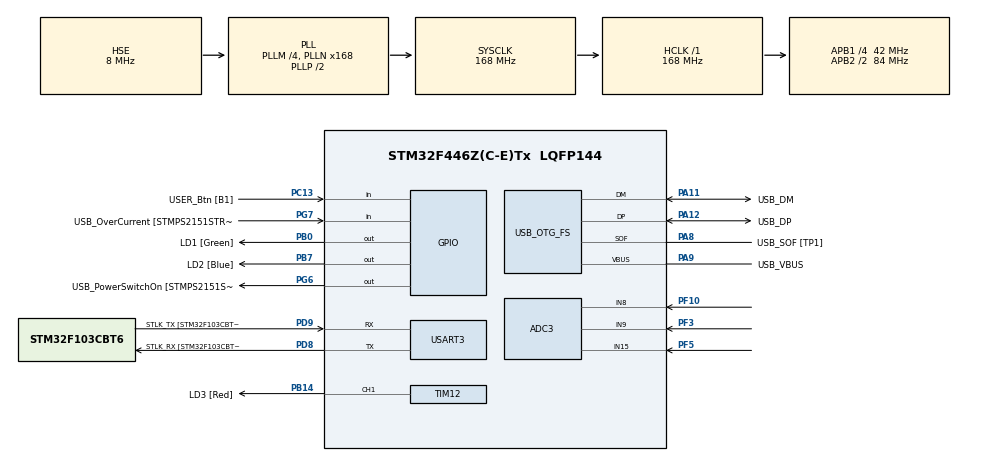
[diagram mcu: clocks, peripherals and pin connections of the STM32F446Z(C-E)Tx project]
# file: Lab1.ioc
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ADC3.Channel-0\#ChannelRegularConversion=ADC_CHANNEL_15
ADC3.NbrOfConversionFlag=1
ADC3.Rank-0\#ChannelRegularConversion=1
ADC3.SamplingTime-0\#ChannelRegularConversion=ADC_SAMPLETIME_3CYCLES
Mcu.Family=STM32F4
Mcu.Name=STM32F446Z(C-E)Tx
Mcu.Package=LQFP144
NVIC.PriorityGroup=NVIC_PRIORITYGROUP_4
PA10.GPIO_Label=USB_ID
PA10.Signal=USB_OTG_FS_ID
PA11.GPIO_Label=USB_DM
PA11.Mode=Device_Only
PA11.Signal=USB_OTG_FS_DM
PA12.GPIO_Label=USB_DP
PA12.Mode=Device_Only
PA12.Signal=USB_OTG_FS_DP
PA13.GPIO_Label=TMS
PA13.Mode=Serial_Wire
PA13.Signal=SYS_JTMS-SWDIO
PA14.GPIO_Label=TCK
PA14.Mode=Serial_Wire
PA14.Signal=SYS_JTCK-SWCLK
PA8.GPIO_Label=USB_SOF [TP1]
PA8.Mode=Activate_SOF_FS
PA8.Signal=USB_OTG_FS_SOF
PA9.GPIO_Label=USB_VBUS
PA9.Mode=Activate_VBUS
PA9.Signal=USB_OTG_FS_VBUS
PB0.GPIO_Label=LD1 [Green]
PB0.Signal=GPIO_Output
PB14.GPIO_Label=LD3 [Red]
PB14.Signal=S_TIM12_CH1
PB7.GPIO_Label=LD2 [Blue]
PB7.Signal=GPIO_Output
PC13.GPIO_Label=USER_Btn [B1]
PC13.Signal=GPIO_Input
PC14-OSC32_IN.Mode=LSE-External-Oscillator
PC14-OSC32_IN.Signal=RCC_OSC32_IN
PC15-OSC32_OUT.Mode=LSE-External-Oscillator
PC15-OSC32_OUT.Signal=RCC_OSC32_OUT
PD8.GPIO_Label=STLK_RX [STM32F103CBT6_PA3]
PD8.Mode=Asynchronous
PD8.Signal=USART3_TX
PD9.GPIO_Label=STLK_TX [STM32F103CBT6_PA2]
PD9.Mode=Asynchronous
PD9.Signal=USART3_RX
PF10.Mode=IN8
PF10.Signal=ADC3_IN8
PF3.Mode=IN9
PF3.Signal=ADC3_IN9
PF5.Mode=IN15
PF5.Signal=ADC3_IN15
PG6.GPIO_Label=USB_PowerSwitchOn [STMPS2151STR_EN]
PG6.Signal=GPIO_Output
PG7.GPIO_Label=USB_OverCurrent [STMPS2151STR_FAULT]
PG7.Signal=GPIO_Input
PH0-OSC_IN.GPIO_Label=MCO [STM32F103CBT6_PA8]
PH0-OSC_IN.Mode=HSE-External-Clock-Source
PH0-OSC_IN.Signal=RCC_OSC_IN
PH1-OSC_OUT.Mode=HSE-External-Clock-Source
PH1-OSC_OUT.Signal=RCC_OSC_OUT
ProjectManager.HeapSize=0x200
ProjectManager.StackSize=0x400
ProjectManager.TargetToolchain=STM32CubeIDE
RCC.48MHZClocksFreq_Value=24000000
RCC.AHBFreq_Value=168000000
RCC.APB1CLKDivider=RCC_HCLK_DIV4
RCC.APB1Freq_Value=42000000
RCC.APB1TimFreq_Value=84000000
RCC.APB2CLKDivider=RCC_HCLK_DIV2
RCC.APB2Freq_Value=84000000
RCC.APB2TimFreq_Value=168000000
RCC.CortexFreq_Value=168000000
RCC.HCLKFreq_Value=168000000
RCC.HSE_VALUE=8000000
RCC.HSI_VALUE=16000000
RCC.PLLM=4
RCC.PLLMUL=RCC_PLL_MUL9
RCC.PLLN=168
RCC.PLLQ=7
RCC.PRESCALERUSB=RCC_USBCLKSOURCE_PLL_DIV1_5
RCC.SYSCLKFreq_VALUE=168000000
RCC.SYSCLKSource=RCC_SYSCLKSOURCE_PLLCLK
RCC.SYSCLKSourceVirtual=RCC_SYSCLKSOURCE_PLLCLK
RCC.USBFreq_Value=48000000
RCC.VCOOutputFreq_Value=336000000
SH.S_TIM12_CH1.0=TIM12_CH1,PWM Generation1 CH1
TIM12.Channel-PWM\ Generation1\ CH1=TIM_CHANNEL_1
TIM12.Period=990
TIM12.Prescaler=83
TIM12.Pulse-PWM\ Generation1\ CH1=500
USART3.VirtualMode=VM_ASYNC
USB_OTG_FS.VirtualMode=Device_Only
VP_TIM12_VS_ClockSourceINT.Mode=Internal
board=NUCLEO-F446ZE

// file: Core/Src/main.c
/* USER CODE BEGIN Header */
/**
  ******************************************************************************
  * @file           : main.c
  * @brief          : Main program body
  ******************************************************************************
  * @attention
  *
  * Copyright (c) 2026 STMicroelectronics.
  * All rights reserved.
  *
  * This software is licensed under terms that can be found in the LICENSE file
  * in the root directory of this software component.
  * If no LICENSE file comes with this software, it is provided AS-IS.
  *
  ******************************************************************************
  */
/* USER CODE END Header */
#include "main.h"

/* USER CODE BEGIN PD */
// #define ADC_PRINT
// #define SW_PWM
// #define HW_PWM
/* USER CODE END PD */

ADC_HandleTypeDef hadc3;

TIM_HandleTypeDef htim12;

UART_HandleTypeDef huart3;

PCD_HandleTypeDef hpcd_USB_OTG_FS;

void SystemClock_Config(void);
static void MX_GPIO_Init(void);
static void MX_ADC3_Init(void);
static void MX_USART3_UART_Init(void);
static void MX_USB_OTG_FS_PCD_Init(void);
static void MX_TIM12_Init(void);

/* USER CODE BEGIN 0 */

void print_msg(char * msg) {
	HAL_UART_Transmit(&huart3, (uint8_t *)msg, strlen(msg), 100);
}

void LD3_start() {
    HAL_TIM_PWM_Start(&htim12, TIM_CHANNEL_1);
}

/**
 * Period -> the number the timer counts up to before resetting
 */
void LD3_setPeriod(uint16_t period) {
	__HAL_TIM_SET_AUTORELOAD(&htim12, period);
}

/**
 * duty -> the number where the pin changes state (TOGGLE)
 */
void LD3_setDuty(uint16_t duty) {
	__HAL_TIM_SET_COMPARE(&htim12, TIM_CHANNEL_1, duty);
}

uint16_t duty_cycle = 50; // Duty defined from 0 to 99
/* USER CODE END 0 */

int main(void)
{

  /* MCU Configuration--------------------------------------------------------*/

  /* Reset of all peripherals, Initializes the Flash interface and the Systick. */
  HAL_Init();

  /* Configure the system clock */
  SystemClock_Config();

  /* Initialize all configured peripherals */
  MX_GPIO_Init();
  MX_ADC3_Init();
  MX_USART3_UART_Init();
  MX_USB_OTG_FS_PCD_Init();
  MX_TIM12_Init();

  /* Infinite loop */
  /* USER CODE BEGIN WHILE */
  LD3_start();
  uint16_t adc_res;
  uint16_t adc_res_ten;
  char message[100];

  duty_cycle = 50;

  LD3_setDuty(duty_cycle * 50);

  HAL_ADC_Start(&hadc3);
  HAL_ADC_PollForConversion(&hadc3, 100);
  adc_res = HAL_ADC_GetValue(&hadc3);

  sprintf(message, "adc_res=%d, duty_cycle=%d\r\n", adc_res, duty_cycle);
  print_msg(message);

  while (1)
  {

    /* USER CODE END WHILE */

    /* USER CODE BEGIN 3 */
#ifdef ADC_PRINT
	HAL_ADC_Start(&hadc3);
	  HAL_ADC_PollForConversion(&hadc3, 100);
	  adc_res = HAL_ADC_GetValue(&hadc3);

	  sprintf(message, "adc_res=%d, duty_cycle=%d\r\n", adc_res, duty_cycle);
	  print_msg(message);
#endif

#ifdef SW_PWM
	// LED Test
	  HAL_ADC_Start(&hadc3);
	  HAL_ADC_PollForConversion(&hadc3, 100);
	  adc_res = HAL_ADC_GetValue(&hadc3);
	  sprintf(message, "adc_res=%d, duty_cycle=%d\r\n", adc_res, duty_cycle);
	  	  print_msg(message);

	  adc_res_ten = adc_res * 10 / 4096;

	  HAL_GPIO_WritePin(LD1_GPIO_Port, LD1_Pin, GPIO_PIN_SET);
	  HAL_Delay(adc_res_ten);
	  HAL_GPIO_WritePin(LD1_GPIO_Port, LD1_Pin, GPIO_PIN_RESET);
	  HAL_Delay(10 - adc_res_ten);

#endif SW_PWM

#ifdef HW_PWM
	  // Read potentiometer
	  HAL_ADC_Start(&hadc3);
	  HAL_ADC_PollForConversion(&hadc3, 100);
	  adc_res = HAL_ADC_GetValue(&hadc3);

	  // Map ADC (0-4095) to duty cycle (0-990)
	  // Multiply first to avoid integer truncation!
	  uint16_t compare_value = (adc_res * 990) / 4096;

	  LD3_setDuty(compare_value);

	  // Optional: print for debugging
	  sprintf(message, "ADC=%d, Compare=%d\r\n", adc_res, compare_value);
	  print_msg(message);

	  HAL_Delay(50);  // Small delay to avoid flooding serial output
#endif

  }
  /* USER CODE END 3 */
}

void SystemClock_Config(void)
{
  RCC_OscInitTypeDef RCC_OscInitStruct = {0};
  RCC_ClkInitTypeDef RCC_ClkInitStruct = {0};

  /** Configure the main internal regulator output voltage
  */
  __HAL_RCC_PWR_CLK_ENABLE();
  __HAL_PWR_VOLTAGESCALING_CONFIG(PWR_REGULATOR_VOLTAGE_SCALE1);

  /** Initializes the RCC Oscillators according to the specified parameters
  * in the RCC_OscInitTypeDef structure.
  */
  RCC_OscInitStruct.OscillatorType = RCC_OSCILLATORTYPE_HSE;
  RCC_OscInitStruct.HSEState = RCC_HSE_BYPASS;
  RCC_OscInitStruct.PLL.PLLState = RCC_PLL_ON;
  RCC_OscInitStruct.PLL.PLLSource = RCC_PLLSOURCE_HSE;
  RCC_OscInitStruct.PLL.PLLM = 4;
  RCC_OscInitStruct.PLL.PLLN = 168;
  RCC_OscInitStruct.PLL.PLLP = RCC_PLLP_DIV2;
  RCC_OscInitStruct.PLL.PLLQ = 7;
  RCC_OscInitStruct.PLL.PLLR = 2;
  if (HAL_RCC_OscConfig(&RCC_OscInitStruct) != HAL_OK)
  {
    Error_Handler();
  }

  /** Initializes the CPU, AHB and APB buses clocks
  */
  RCC_ClkInitStruct.ClockType = RCC_CLOCKTYPE_HCLK|RCC_CLOCKTYPE_SYSCLK
                              |RCC_CLOCKTYPE_PCLK1|RCC_CLOCKTYPE_PCLK2;
  RCC_ClkInitStruct.SYSCLKSource = RCC_SYSCLKSOURCE_PLLCLK;
  RCC_ClkInitStruct.AHBCLKDivider = RCC_SYSCLK_DIV1;
  RCC_ClkInitStruct.APB1CLKDivider = RCC_HCLK_DIV4;
  RCC_ClkInitStruct.APB2CLKDivider = RCC_HCLK_DIV2;

  if (HAL_RCC_ClockConfig(&RCC_ClkInitStruct, FLASH_LATENCY_5) != HAL_OK)
  {
    Error_Handler();
  }
}

static void MX_ADC3_Init(void)
{

  ADC_ChannelConfTypeDef sConfig = {0};

  /** Configure the global features of the ADC (Clock, Resolution, Data Alignment and number of conversion)
  */
  hadc3.Instance = ADC3;
  hadc3.Init.ClockPrescaler = ADC_CLOCK_SYNC_PCLK_DIV4;
  hadc3.Init.Resolution = ADC_RESOLUTION_12B;
  hadc3.Init.ScanConvMode = DISABLE;
  hadc3.Init.ContinuousConvMode = DISABLE;
  hadc3.Init.DiscontinuousConvMode = DISABLE;
  hadc3.Init.ExternalTrigConvEdge = ADC_EXTERNALTRIGCONVEDGE_NONE;
  hadc3.Init.ExternalTrigConv = ADC_SOFTWARE_START;
  hadc3.Init.DataAlign = ADC_DATAALIGN_RIGHT;
  hadc3.Init.NbrOfConversion = 1;
  hadc3.Init.DMAContinuousRequests = DISABLE;
  hadc3.Init.EOCSelection = ADC_EOC_SINGLE_CONV;
  if (HAL_ADC_Init(&hadc3) != HAL_OK)
  {
    Error_Handler();
  }

  /** Configure for the selected ADC regular channel its corresponding rank in the sequencer and its sample time.
  */
  sConfig.Channel = ADC_CHANNEL_15;
  sConfig.Rank = 1;
  sConfig.SamplingTime = ADC_SAMPLETIME_3CYCLES;
  if (HAL_ADC_ConfigChannel(&hadc3, &sConfig) != HAL_OK)
  {
    Error_Handler();
  }

}

static void MX_TIM12_Init(void)
{

  TIM_ClockConfigTypeDef sClockSourceConfig = {0};
  TIM_OC_InitTypeDef sConfigOC = {0};

  htim12.Instance = TIM12;
  htim12.Init.Prescaler = 83;
  htim12.Init.CounterMode = TIM_COUNTERMODE_UP;
  htim12.Init.Period = 990; // ARR (Auto-Reload Register)
  htim12.Init.ClockDivision = TIM_CLOCKDIVISION_DIV1;
  htim12.Init.AutoReloadPreload = TIM_AUTORELOAD_PRELOAD_DISABLE;
  if (HAL_TIM_Base_Init(&htim12) != HAL_OK)
  {
    Error_Handler();
  }
  sClockSourceConfig.ClockSource = TIM_CLOCKSOURCE_INTERNAL;
  if (HAL_TIM_ConfigClockSource(&htim12, &sClockSourceConfig) != HAL_OK)
  {
    Error_Handler();
  }
  if (HAL_TIM_PWM_Init(&htim12) != HAL_OK)
  {
    Error_Handler();
  }
  sConfigOC.OCMode = TIM_OCMODE_PWM1;
  sConfigOC.Pulse = 500; // CCR (Capture/Compare Register)
  sConfigOC.OCPolarity = TIM_OCPOLARITY_HIGH;
  sConfigOC.OCFastMode = TIM_OCFAST_DISABLE;
  if (HAL_TIM_PWM_ConfigChannel(&htim12, &sConfigOC, TIM_CHANNEL_1) != HAL_OK)
  {
    Error_Handler();
  }
  HAL_TIM_MspPostInit(&htim12);

}

static void MX_USART3_UART_Init(void)
{

  huart3.Instance = USART3;
  huart3.Init.BaudRate = 115200;
  huart3.Init.WordLength = UART_WORDLENGTH_8B;
  huart3.Init.StopBits = UART_STOPBITS_1;
  huart3.Init.Parity = UART_PARITY_NONE;
  huart3.Init.Mode = UART_MODE_TX_RX;
  huart3.Init.HwFlowCtl = UART_HWCONTROL_NONE;
  huart3.Init.OverSampling = UART_OVERSAMPLING_16;
  if (HAL_UART_Init(&huart3) != HAL_OK)
  {
    Error_Handler();
  }

}

static void MX_USB_OTG_FS_PCD_Init(void)
{

  hpcd_USB_OTG_FS.Instance = USB_OTG_FS;
  hpcd_USB_OTG_FS.Init.dev_endpoints = 6;
  hpcd_USB_OTG_FS.Init.speed = PCD_SPEED_FULL;
  hpcd_USB_OTG_FS.Init.dma_enable = DISABLE;
  hpcd_USB_OTG_FS.Init.phy_itface = PCD_PHY_EMBEDDED;
  hpcd_USB_OTG_FS.Init.Sof_enable = ENABLE;
  hpcd_USB_OTG_FS.Init.low_power_enable = DISABLE;
  hpcd_USB_OTG_FS.Init.lpm_enable = DISABLE;
  hpcd_USB_OTG_FS.Init.vbus_sensing_enable = ENABLE;
  hpcd_USB_OTG_FS.Init.use_dedicated_ep1 = DISABLE;
  if (HAL_PCD_Init(&hpcd_USB_OTG_FS) != HAL_OK)
  {
    Error_Handler();
  }

}

static void MX_GPIO_Init(void)
{
  GPIO_InitTypeDef GPIO_InitStruct = {0};

  /* GPIO Ports Clock Enable */
  __HAL_RCC_GPIOC_CLK_ENABLE();
  __HAL_RCC_GPIOF_CLK_ENABLE();
  __HAL_RCC_GPIOH_CLK_ENABLE();
  __HAL_RCC_GPIOB_CLK_ENABLE();
  __HAL_RCC_GPIOD_CLK_ENABLE();
  __HAL_RCC_GPIOG_CLK_ENABLE();
  __HAL_RCC_GPIOA_CLK_ENABLE();

  /*Configure GPIO pin Output Level */
  HAL_GPIO_WritePin(GPIOB, LD1_Pin|LD2_Pin, GPIO_PIN_RESET);

  /*Configure GPIO pin Output Level */
  HAL_GPIO_WritePin(USB_PowerSwitchOn_GPIO_Port, USB_PowerSwitchOn_Pin, GPIO_PIN_RESET);

  /*Configure GPIO pin : USER_Btn_Pin */
  GPIO_InitStruct.Pin = USER_Btn_Pin;
  GPIO_InitStruct.Mode = GPIO_MODE_INPUT;
  GPIO_InitStruct.Pull = GPIO_NOPULL;
  HAL_GPIO_Init(USER_Btn_GPIO_Port, &GPIO_InitStruct);

  /*Configure GPIO pins : LD1_Pin LD2_Pin */
  GPIO_InitStruct.Pin = LD1_Pin|LD2_Pin;
  GPIO_InitStruct.Mode = GPIO_MODE_OUTPUT_PP;
  GPIO_InitStruct.Pull = GPIO_NOPULL;
  GPIO_InitStruct.Speed = GPIO_SPEED_FREQ_LOW;
  HAL_GPIO_Init(GPIOB, &GPIO_InitStruct);

  /*Configure GPIO pin : USB_PowerSwitchOn_Pin */
  GPIO_InitStruct.Pin = USB_PowerSwitchOn_Pin;
  GPIO_InitStruct.Mode = GPIO_MODE_OUTPUT_PP;
  GPIO_InitStruct.Pull = GPIO_NOPULL;
  GPIO_InitStruct.Speed = GPIO_SPEED_FREQ_LOW;
  HAL_GPIO_Init(USB_PowerSwitchOn_GPIO_Port, &GPIO_InitStruct);

  /*Configure GPIO pin : USB_OverCurrent_Pin */
  GPIO_InitStruct.Pin = USB_OverCurrent_Pin;
  GPIO_InitStruct.Mode = GPIO_MODE_INPUT;
  GPIO_InitStruct.Pull = GPIO_NOPULL;
  HAL_GPIO_Init(USB_OverCurrent_GPIO_Port, &GPIO_InitStruct);

}

void Error_Handler(void)
{
  __disable_irq();
  while (1)
  {
  }
}
